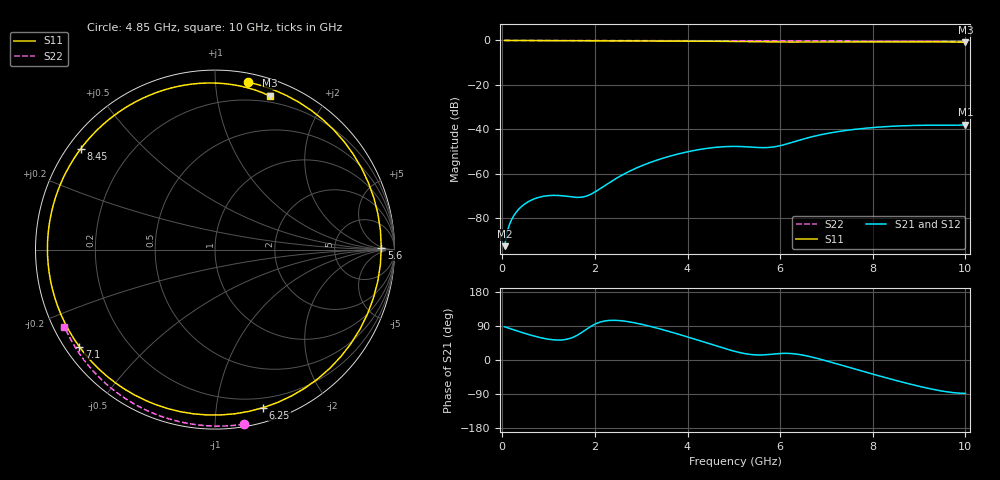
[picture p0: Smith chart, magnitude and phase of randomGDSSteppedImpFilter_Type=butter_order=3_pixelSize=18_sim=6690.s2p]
! freq	dB(S11)	phase(S11)	dB(S12)	phase(S12)
!  dB(S21)	phase(S21)	dB(S22)	phase(S22)
!S-par simulation data
#  GHz  S  DB  R 50
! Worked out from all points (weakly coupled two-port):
!   200 points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, 50 MHz to 10 GHz, reference 50 ohm
!   highest |S21| = -37.97 dB at 10 GHz (marker M1); lowest = -92.6 dB at 50 MHz (marker M2)
!   lowest |S11| = -0.8 dB at 10 GHz (marker M3), VSWR 21.04, Z = 7.11 + j70.3 ohm
!   |S11| at or under -10 dB: nowhere
!   |S22| runs from -0.5 to 0.0 dB; largest |S21 - S12| = 0
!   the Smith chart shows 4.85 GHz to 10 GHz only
!   S11 on the Smith chart (normalised r, x): 4.85 GHz: 0.06, +1.22; 5.6 GHz: 26, +4; 6.25 GHz: 0.12, -1.34; 7.1 GHz: 0.04, -0.32; 8.45 GHz: 0.04, +0.33; 10 GHz: 0.14, +1.41
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0.05  -0.00 -3.4  -92.60 87.6  -92.60 87.6  -0.00 -0.9
0.2  -0.02 -13.5  -80.68 81.6  -80.68 81.6  -0.00 -3.6
0.45  -0.04 -30.0  -74.15 71.6  -74.15 71.6  -0.01 -7.9
0.95  -0.08 -61.7  -69.95 55.8  -69.95 55.8  -0.02 -16.7
1.75  -0.12 -107.1  -70.42 75.5  -70.42 75.5  -0.04 -30.5
2.6  -0.15 -149.5  -60.44 103.2  -60.44 103.2  -0.06 -44.8
3.4  -0.20 171.7  -53.45 82.2  -53.45 82.2  -0.08 -57.9
4.15  -0.28 130.3  -49.50 55.2  -49.50 55.2  -0.10 -69.8
4.55  -0.36 103.1  -48.24 39.8  -48.24 39.8  -0.11 -76.0
4.85  -0.43 78.8  -47.76 28.6  -47.76 28.6  -0.12 -80.5
5.05  -0.49 60.4  -47.71 21.9  -47.71 21.9  -0.13 -83.6
5.35  -0.59 29.2  -47.98 14.7  -47.98 14.7  -0.14 -88.0
5.6  -0.66 0.7  -48.25 13.4  -48.25 13.4  -0.15 -91.7
5.9  -0.72 -34.5  -47.80 16.4  -47.80 16.4  -0.17 -96.1
6.25  -0.72 -73.1  -45.92 16.9  -45.92 16.9  -0.18 -101.1
6.7  -0.68 -114.8  -43.29 7.3  -43.29 7.3  -0.21 -107.5
7.1  -0.63 -144.5  -41.54 -5.8  -41.54 -5.8  -0.24 -113.1
7.65  -0.60 -177.5  -39.92 -25.1  -39.92 -25.1  -0.28 -120.7
8.35  -0.58 147.6  -38.71 -49.0  -38.71 -49.0  -0.34 -130.3
8.45  -0.58 143.0  -38.60 -52.3  -38.60 -52.3  -0.34 -131.7
9.3  -0.60 104.7  -38.15 -77.4  -38.15 -77.4  -0.43 -143.3
10  -0.83 70.5  -37.97 -88.0  -37.97 -88.0  -0.52 -152.9
